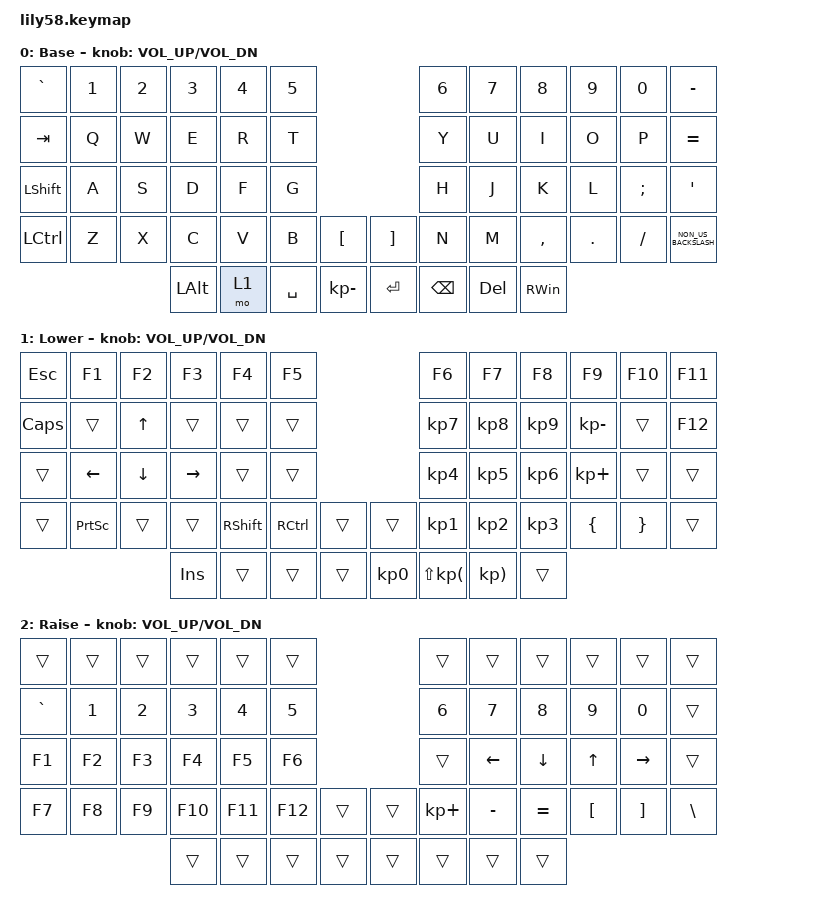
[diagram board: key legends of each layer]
/*
 * Copyright (c) 2020 The ZMK Contributors
 *
 * SPDX-License-Identifier: MIT
 */

#include <behaviors.dtsi>
#include <dt-bindings/zmk/keys.h>

/ {
    keymap {
        compatible = "zmk,keymap";

        default_layer {
            // ------------------------------------------------------------------------------------------------------------
            // |  ESC  |  1  |  2  |  3   |  4   |  5   |                   |  6   |  7    |  8    |  9   |   0   |   `   |
            // |  TAB  |  Q  |  W  |  E   |  R   |  T   |                   |  Y   |  U    |  I    |  O   |   P   |   -   |
            // |  CTRL |  A  |  S  |  D   |  F   |  G   |                   |  H   |  J    |  K    |  L   |   ;   |   '   |
            // | SHIFT |  Z  |  X  |  C   |  V   |  B   |   "["  |  |  "]"  |  N   |  M    |  ,    |  .   |   /   | SHIFT |
            //                     | ALT  | GUI  | LOWER|  SPACE |  | ENTER | RAISE| BSPC  | GUI   |

            display-name = "Base";
            bindings = <
&kp GRAVE         &kp N1  &kp N2  &kp N3    &kp N4  &kp N5                                  &kp N6         &kp N7   &kp N8         &kp N9   &kp N0    &kp MINUS
&kp TAB           &kp Q   &kp W   &kp E     &kp R   &kp T                                   &kp Y          &kp U    &kp I          &kp O    &kp P     &kp EQUAL
&kp LEFT_SHIFT    &kp A   &kp S   &kp D     &kp F   &kp G                                   &kp H          &kp J    &kp K          &kp L    &kp SEMI  &kp SQT
&kp LEFT_CONTROL  &kp Z   &kp X   &kp C     &kp V   &kp B      &kp LBKT           &kp RBKT  &kp N          &kp M    &kp COMMA      &kp DOT  &kp FSLH  &kp NON_US_BACKSLASH
                                  &kp LALT  &mo 1   &kp SPACE  &kp KP_SUBTRACT    &kp RET   &kp BACKSPACE  &kp DEL  &kp RIGHT_WIN
            >;

            sensor-bindings = <&inc_dec_kp C_VOL_UP C_VOL_DN>;
        };

        lower_layer {
            // ------------------------------------------------------------------------------------------------------------
            // | BTCLR | BT1 | BT2 |  BT3 |  BT4 |  BT5 |                   |      |       |       |      |       |       |
            // |  F1   |  F2 |  F3 |  F4  |  F5  |  F6  |                   |  F7  |  F8   |  F9   |  F10 |  F11  |  F12  |
            // |   `   |  !  |  @  |  #   |  $   |  %   |                   |  ^   |  &    |  *    |  (   |   )   |   ~   |
            // |       |     |     |      |      |      |        |  |       |      |  _    |  +    |  {   |   }   |  "|"  |
            //                     |      |      |      |        |  |       |      |       |       |

            display-name = "Lower";
            bindings = <
&kp ESCAPE  &kp F1           &kp F2        &kp F3     &kp F4           &kp F5                                &kp F6                       &kp F7                    &kp F8           &kp F9           &kp F10   &kp F11
&kp CAPS    &trans           &kp UP_ARROW  &trans     &trans           &trans                                &kp KP_NUMBER_7              &kp KP_NUMBER_8           &kp KP_NUMBER_9  &kp KP_SUBTRACT  &trans    &kp F12
&trans      &kp LEFT         &kp DOWN      &kp RIGHT  &trans           &trans                                &kp KP_NUMBER_4              &kp KP_NUMBER_5           &kp KP_NUMBER_6  &kp KP_PLUS      &trans    &trans
&trans      &kp PRINTSCREEN  &trans        &trans     &kp RIGHT_SHIFT  &kp RCTRL  &trans    &trans           &kp KP_NUMBER_1              &kp KP_NUMBER_2           &kp KP_NUMBER_3  &kp LBRC         &kp RBRC  &trans
                                           &kp INS    &trans           &trans     &trans    &kp KP_NUMBER_0  &kp LS(KP_LEFT_PARENTHESIS)  &kp KP_RIGHT_PARENTHESIS  &trans
            >;

            sensor-bindings = <&inc_dec_kp C_VOL_UP C_VOL_DN>;
        };

        raise_layer {
            // ------------------------------------------------------------------------------------------------------------
            // |       |     |     |      |      |      |                   |      |       |       |      |       |       |
            // |   `   |  1  |  2  |  3   |  4   |  5   |                   |  6   |   7   |   8   |  9   |   0   |       |
            // |   F1  |  F2 |  F3 |  F4  |  F5  |  F6  |                   |      |   <-  |   v   |  ^   |  ->   |       |
            // |   F7  |  F8 |  F9 |  F10 |  F11 |  F12 |        |  |       |  +   |   -   |   =   |  [   |   ]   |   \   |
            //                     |      |      |      |        |  |       |      |       |       |

            display-name = "Raise";
            bindings = <
&trans     &trans  &trans  &trans   &trans   &trans                     &trans       &trans     &trans     &trans    &trans     &trans
&kp GRAVE  &kp N1  &kp N2  &kp N3   &kp N4   &kp N5                     &kp N6       &kp N7     &kp N8     &kp N9    &kp N0     &trans
&kp F1     &kp F2  &kp F3  &kp F4   &kp F5   &kp F6                     &trans       &kp LEFT   &kp DOWN   &kp UP    &kp RIGHT  &trans
&kp F7     &kp F8  &kp F9  &kp F10  &kp F11  &kp F12  &trans    &trans  &kp KP_PLUS  &kp MINUS  &kp EQUAL  &kp LBKT  &kp RBKT   &kp BSLH
                           &trans   &trans   &trans   &trans    &trans  &trans       &trans     &trans
            >;

            sensor-bindings = <&inc_dec_kp C_VOL_UP C_VOL_DN>;
        };
    };
};
